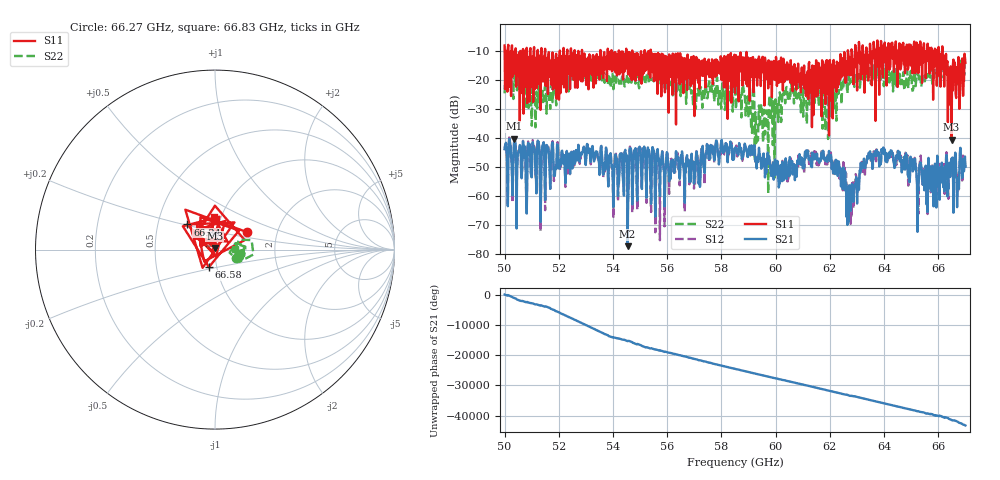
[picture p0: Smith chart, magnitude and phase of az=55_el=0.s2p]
!Created with skrf (http://scikit-rf.org).
# GHz S RI R 50.0
!freq ReS11 ImS11 ReS21 ImS21 ReS12 ImS12 ReS22 ImS22
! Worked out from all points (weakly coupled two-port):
!   1001 points, 50 GHz to 67 GHz, reference 50 ohm
!   highest |S21| = -40.29 dB at 50.36 GHz (marker M1); lowest = -77.4 dB at 54.54 GHz (marker M2)
!   lowest |S11| = -40.7 dB at 66.49 GHz (marker M3), VSWR 1.02, Z = 49.9 + j0.911 ohm
!   |S11| at or under -10 dB: 51.5 GHz to 52.17 GHz (673.2 MHz wide, 1.3 % of centre); 55.39 GHz to 62.66 GHz (7.275 GHz wide, 12.3 % of centre); 66.16 GHz to end of sweep (the widest 3 of 60)
!   |S22| runs from -59.2 to -13.3 dB; largest |S21 - S12| = 0.0023
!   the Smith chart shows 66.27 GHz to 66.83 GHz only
!   S11 on the Smith chart (normalised r, x): 66.27 GHz: 1.41, +0.28; 66.34 GHz: 0.71, +0.21; 66.58 GHz: 0.92, -0.18; 66.83 GHz: 0.93, +0.35
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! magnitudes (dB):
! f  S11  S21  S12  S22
! 50 GHz  -8.2  -43.9  -44.3  -24.7
! 50.36 GHz  -10.3  -40.3  -40.5  -17.3
! 51.07 GHz  -10.5  -43.5  -44.1  -26.8
! 52.84 GHz  -12.7  -45.9  -45.4  -19.5
! 54.54 GHz  -13.6  -77.4  -67.4  -18.6
! 55.68 GHz  -13.2  -48.0  -47.4  -21.3
! 58.5 GHz  -24.6  -43.6  -43.1  -24.0
! 59.13 GHz  -17.7  -45.1  -45.9  -38.4
! 59.32 GHz  -22.1  -47.8  -47.5  -38.8
! 60.34 GHz  -14.8  -49.4  -51.6  -25.4
! 61.34 GHz  -36.4  -50.2  -48.9  -26.6
! 62.29 GHz  -22.7  -53.2  -50.7  -23.4
! 62.7 GHz  -17.8  -65.1  -68.7  -19.6
! 63.41 GHz  -20.3  -47.1  -46.0  -16.3
! 64.18 GHz  -12.0  -46.9  -47.6  -17.3
! 65.52 GHz  -10.2  -53.1  -52.9  -19.7
! 66.27 GHz  -13.8  -51.5  -50.2  -17.8
! 66.34 GHz  -13.6  -60.2  -59.7  -17.5
! 66.49 GHz  -40.7  -47.2  -47.3  -15.3
! 66.58 GHz  -19.7  -51.1  -55.4  -15.6
! 66.83 GHz  -14.8  -46.9  -45.6  -19.0
! 67 GHz  -14.2  -50.0  -50.1  -14.6
